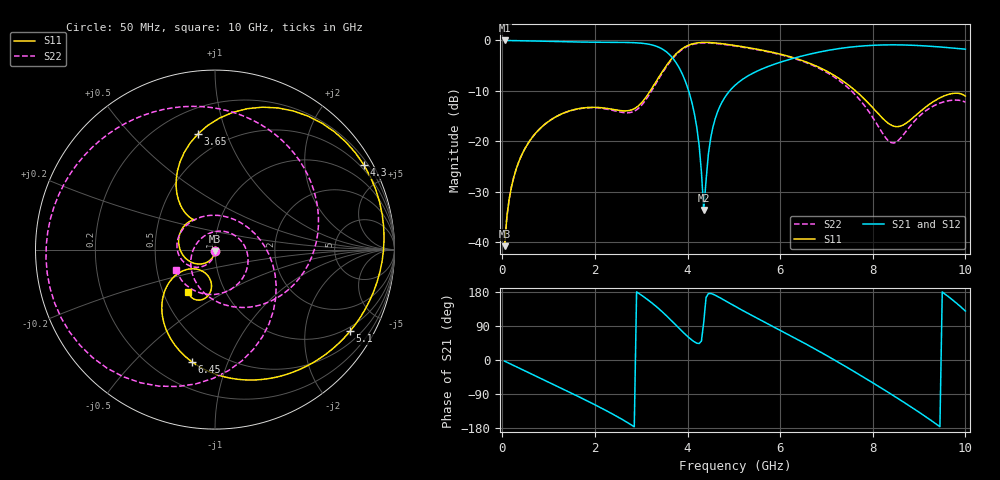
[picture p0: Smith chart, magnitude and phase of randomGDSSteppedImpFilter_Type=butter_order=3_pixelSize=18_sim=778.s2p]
! freq	dB(S11)	phase(S11)	dB(S12)	phase(S12)
!  dB(S21)	phase(S21)	dB(S22)	phase(S22)
!S-par simulation data
#  GHz  S  DB  R 50
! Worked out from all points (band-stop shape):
!   200 points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, 50 MHz to 10 GHz, reference 50 ohm
!   highest |S21| = -0.01 dB at 50 MHz (marker M1); lowest = -33.6 dB at 4.35 GHz (marker M2)
!   |S21| within 3 dB of the highest: start of sweep to 3.631 GHz; 6.51 GHz to end of sweep
!   lowest |S11| = -40.8 dB at 50 MHz (marker M3), VSWR 1.02, Z = 50 - j0.907 ohm
!   |S11| at or under -10 dB: start of sweep to 3.196 GHz; 7.627 GHz to end of sweep
!   |S22| runs from -40.8 to -0.5 dB; largest |S21 - S12| = 0
!   S11 on the Smith chart (normalised r, x): 50 MHz: 1.00, -0.02; 3.65 GHz: 0.36, +0.80; 4.3 GHz: 0.36, +3.75; 5.1 GHz: 0.85, -3.39; 6.45 GHz: 0.36, -0.75; 10 GHz: 0.67, -0.34
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0.05  -40.84 -92.1  -0.01 -3.0  -0.01 -3.0  -40.84 -91.5
0.2  -28.99 -103.0  -0.03 -11.8  -0.03 -11.8  -28.98 -100.1
0.5  -21.30 -123.4  -0.07 -29.4  -0.07 -29.4  -21.29 -116.2
1.15  -15.19 -165.6  -0.22 -67.4  -0.22 -67.4  -15.20 -150.5
1.75  -13.39 157.8  -0.33 -102.9  -0.33 -102.9  -13.44 175.0
2.75  -13.90 124.7  -0.42 -168.6  -0.42 -168.6  -14.33 76.2
3.4  -7.00 118.9  -1.44 133.1  -1.44 133.1  -7.30 -38.4
3.65  -3.71 98.3  -3.19 104.2  -3.19 104.2  -3.91 -76.3
4.1  -0.70 49.7  -12.55 52.0  -12.55 52.0  -0.83 -138.5
4.3  -0.41 29.7  -26.10 49.9  -26.10 49.9  -0.52 -161.6
4.35  -0.39 25.0  -33.63 99.9  -33.63 99.9  -0.50 -166.8
4.55  -0.46 7.7  -17.14 173.7  -17.14 173.7  -0.57 173.7
5.05  -1.05 -28.0  -8.71 140.1  -8.71 140.1  -1.14 132.8
5.1  -1.12 -31.2  -8.33 136.7  -8.33 136.7  -1.21 129.0
5.75  -2.19 -67.9  -5.14 94.5  -5.14 94.5  -2.29 81.1
6.45  -3.91 -101.8  -3.14 49.3  -3.14 49.3  -4.03 26.1
6.7  -4.78 -112.8  -2.59 32.6  -2.59 32.6  -4.93 4.5
7.5  -9.04 -141.3  -1.34 -23.4  -1.34 -23.4  -9.68 -74.5
8.35  -16.54 -132.8  -0.88 -86.6  -0.88 -86.6  -20.03 143.4
8.8  -15.88 -101.3  -0.94 -121.7  -0.94 -121.7  -17.10 31.7
9.3  -12.19 -97.0  -1.19 -162.9  -1.19 -162.9  -13.06 -46.8
10  -11.05 -122.3  -1.74 129.2  -1.74 129.2  -12.25 -152.1
